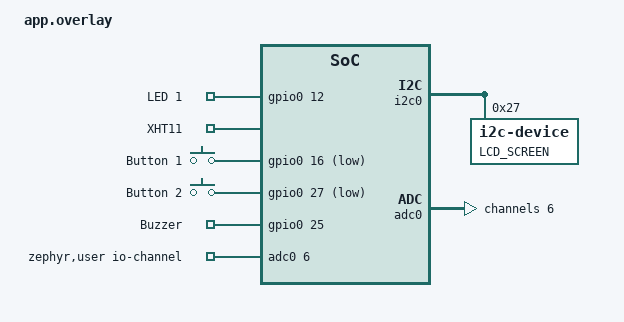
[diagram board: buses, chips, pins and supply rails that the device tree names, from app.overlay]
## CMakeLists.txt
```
# SPDX-License-Identifier: Apache-2.0

cmake_minimum_required(VERSION 3.20.0)

find_package(Zephyr REQUIRED HINTS $ENV{ZEPHYR_BASE})
project(hello_world)

target_sources(app PRIVATE 
   src/main.c
   src/lcd_screen_i2c.c
)
```

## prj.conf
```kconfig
# nothing here
CONFIG_ESP32_USE_UNSUPPORTED_REVISION=y
CONFIG_I2C=y
CONFIG_SENSOR=y
CONFIG_ADC=y
```

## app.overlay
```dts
/ {
   gpio_keys {
    compatible = "gpio-keys";
    ledyellow: led_yellow {
        gpios = <&gpio0 12 GPIO_ACTIVE_HIGH>;
        label = "LED 1";
    };

    dht11: dht11 {
        compatible = "aosong,dht";
        status = "okay";
        dio-gpios = <&gpio0 17 GPIO_ACTIVE_LOW>;
        label = "XHT11";
    };

    button1: button1 {
        gpios = <&gpio0 16 GPIO_ACTIVE_LOW>;
        label = "Button 1";
    };

    button2: button2 {
        gpios = <&gpio0 27 GPIO_ACTIVE_LOW>;
        label = "Button 2";
    };
};

    gpio_buzzer {
        compatible = "gpio-leds";
        buzzer: buzzer {
            gpios = <&gpio0 25 GPIO_ACTIVE_HIGH>;
            label = "Buzzer";
        };
    };
    
    zephyr,user {
        io-channels =
        <&adc0 6>;
    };

    aliases {
        led-yellow = &ledyellow;
        lcd-screen = &lcdscreen;
        dht11 = &dht11;
        button-1 = &button1;
        button-2 = &button2;
        buzzer = &buzzer;
    };
};


&i2c0 {
    lcdscreen: lcd_screen@27{
        compatible = "i2c-device";
        reg = <0x27>;
        label = "LCD_SCREEN";
    };
};

&adc0 {
	status = "okay";
	#address-cells = <1>;
	#size-cells = <0>;

	channel@6 {
		reg = <6>;
		zephyr,gain = "ADC_GAIN_1_4";
		zephyr,reference = "ADC_REF_INTERNAL";
		zephyr,acquisition-time = <ADC_ACQ_TIME_DEFAULT>;
		zephyr,resolution = <12>;
	};
};
```

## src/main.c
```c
/*
 * Copyright (c) 2012-2014 Wind River Systems, Inc.
 *
 * SPDX-License-Identifier: Apache-2.0
 */

#include <stdio.h>
#include <zephyr/kernel.h>
#include <zephyr/device.h>
#include <zephyr/devicetree.h>
#include <zephyr/drivers/adc.h>
#include <zephyr/drivers/gpio.h>
#include <zephyr/drivers/i2c.h>
#include <zephyr/drivers/sensor.h>
#include <zephyr/drivers/pwm.h>
#include <zephyr/sys/printk.h>
#include "lcd_screen_i2c.h"

#define LED_YELLOW_NODE DT_ALIAS(led_yellow)
#define LCD_SCREEN_NODE DT_ALIAS(lcd_screen)

#if !DT_NODE_EXISTS(DT_PATH(zephyr_user)) || \
    !DT_NODE_HAS_PROP(DT_PATH(zephyr_user), io_channels)
#error "No suitable devicetree overlay specified"
#endif

#define DT_SPEC_AND_COMMA(node_id, prop, idx) \
    ADC_DT_SPEC_GET_BY_IDX(node_id, idx),

const struct gpio_dt_spec led_yellow_gpio = GPIO_DT_SPEC_GET_OR(LED_YELLOW_NODE, gpios, {0});
static const struct i2c_dt_spec lcd_screen = I2C_DT_SPEC_GET(LCD_SCREEN_NODE);
const struct device *const dht11 = DEVICE_DT_GET_ONE(aosong_dht);

static const struct adc_dt_spec adc_channels[] = {
    DT_FOREACH_PROP_ELEM(DT_PATH(zephyr_user), io_channels, DT_SPEC_AND_COMMA)
};

#define BUTTON_1_NODE DT_ALIAS(button_1)
#define BUTTON_2_NODE DT_ALIAS(button_2)

static const struct gpio_dt_spec button1 = GPIO_DT_SPEC_GET_OR(BUTTON_1_NODE, gpios, {0});
static const struct gpio_dt_spec button2 = GPIO_DT_SPEC_GET_OR(BUTTON_2_NODE, gpios, {0});

static struct gpio_callback button1_cb_data;
static struct gpio_callback button2_cb_data;

volatile bool button1_pressed = false;
volatile bool button2_pressed = false;

void button1_pressed_callback(const struct device *dev, struct gpio_callback * cb, uint32_t pins) 
{
    button1_pressed = true;
}

void button2_pressed_callback(const struct device *dev, struct gpio_callback * cb, uint32_t pins) 
{
    button2_pressed = true;
}

void configure_buttons(void) 
{
    gpio_pin_configure_dt(&button1, GPIO_INPUT);
    gpio_pin_configure_dt(&button2, GPIO_INPUT);

    gpio_pin_interrupt_configure_dt(&button1, GPIO_INT_EDGE_TO_ACTIVE);
    gpio_pin_interrupt_configure_dt(&button2, GPIO_INT_EDGE_TO_ACTIVE);

    gpio_init_callback(&button1_cb_data, button1_pressed_callback, BIT(button1.pin));
    gpio_add_callback(button1.port, &button1_cb_data);

    gpio_init_callback(&button2_cb_data, button2_pressed_callback, BIT(button2.pin));
    gpio_add_callback(button2.port, &button2_cb_data);
}

void display_message_on_lcd(void)
{
    if (button1_pressed) {
        button1_pressed = false;
        printk("Button 1 pressed\n");
        write_lcd(&lcd_screen, "Button 1 pressed", LCD_LINE_1);
    }
    if (button2_pressed) {
        button2_pressed = false;
        printk("Button 2 pressed\n");
        write_lcd(&lcd_screen, "Button 2 pressed", LCD_LINE_1);
    }
}

int main(void)
{
    int ret;
    uint16_t adc_buf;
    uint32_t count = 0;
    struct sensor_value temp, humidity;
    struct adc_sequence sequence = {
        .buffer = &adc_buf,
        .buffer_size = sizeof(adc_buf),
    };

    printf("Hello World! %s\n", CONFIG_BOARD_TARGET);
    gpio_pin_configure_dt(&led_yellow_gpio, GPIO_OUTPUT_HIGH);
    init_lcd(&lcd_screen);

    if (!device_is_ready(dht11)) {
        printk("Le capteur DHT11 n'est pas prêt\n");
        return;
    }

    for (size_t i = 0U; i < ARRAY_SIZE(adc_channels); i++) {
        if (!adc_is_ready_dt(&adc_channels[i])) {
            printk("Le périphérique ADC %s n'est pas prêt\n", adc_channels[i].dev->name);
            return;
        }

        ret = adc_channel_setup_dt(&adc_channels[i]);
        if (ret < 0) {
            printk("Échec de configuration du canal ADC #%d (%d)\n", i, ret);
            return;
        }
    }

    printk("Initialisation du système\n");
    configure_buttons();

    while (1) {
        
        ret = sensor_sample_fetch(dht11);
        if (ret == 0) {
            sensor_channel_get(dht11, SENSOR_CHAN_AMBIENT_TEMP, &temp);
		    sensor_channel_get(dht11, SENSOR_CHAN_HUMIDITY, &humidity);

		    printf("Température: %.d.%06d °C, Humidité: %d.%06d %%\n", temp.val1, temp.val2, humidity.val1, humidity.val2);
        } else {
            printk("Erreur de lecture du capteur DHT11\n");
        }

        printk("Lecture ADC[%u]:\n", count++);
        for (size_t i = 0U; i < ARRAY_SIZE(adc_channels); i++) {
            int32_t val_mv;
            printk("- %s, canal %d: ", adc_channels[i].dev->name, adc_channels[i].channel_id);

            (void)adc_sequence_init_dt(&adc_channels[i], &sequence);
            ret = adc_read_dt(&adc_channels[i], &sequence);
            if (ret < 0) {
                printk("Erreur de lecture ADC (%d)\n", ret);
                continue;
            }

            val_mv = adc_channels[i].channel_cfg.differential ? (int32_t)((int16_t)adc_buf) : (int32_t)adc_buf;
            printk("%" PRId32, val_mv);
            ret = adc_raw_to_millivolts_dt(&adc_channels[i], &val_mv);
            if (ret < 0) {
                printk(" (valeur en mV non disponible)\n");
            } else {
                printk(" = %" PRId32 " mV\n", val_mv);
            }
        }

        display_message_on_lcd();
        k_sleep(K_MSEC(500));
    }

}
```

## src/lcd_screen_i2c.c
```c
#include "lcd_screen_i2c.h"

#include <zephyr/kernel.h>
#include <zephyr/drivers/i2c.h>

static void lcd_toggle_enable(const struct i2c_dt_spec *dev_lcd_screen, uint8_t bits);
static void lcd_byte(const struct i2c_dt_spec *dev_lcd_screen, uint8_t bits, uint8_t mode);

void init_lcd(const struct i2c_dt_spec *dev_lcd_screen)
{
    lcd_byte(dev_lcd_screen, 0x33, LCD_CMD);
    lcd_byte(dev_lcd_screen, 0x32, LCD_CMD);
    lcd_byte(dev_lcd_screen, 0x06, LCD_CMD);
    lcd_byte(dev_lcd_screen, 0x0c, LCD_CMD);
    lcd_byte(dev_lcd_screen, 0x28, LCD_CMD);
    lcd_byte(dev_lcd_screen, 0x01, LCD_CMD);
    write_lcd(dev_lcd_screen, HELLO_MSG, LCD_LINE_1);
    write_lcd(dev_lcd_screen, ZEPHYR_MSG, LCD_LINE_2);
}

static void lcd_byte(const struct i2c_dt_spec *dev_lcd_screen, uint8_t bits, uint8_t mode)
{
    int ret = 0;
    uint8_t bits_high = mode | (bits & 0xf0) | LCD_BACKLIGHT;
    uint8_t bits_low = mode | ((bits << 4) & 0xf0) | LCD_BACKLIGHT;

    ret = i2c_write_dt(dev_lcd_screen, &bits_high, sizeof(bits_high));
    if (ret != 0)
    {
        printk("ERROR while writing to I2C");
    }
    lcd_toggle_enable(dev_lcd_screen, bits_high);

    ret = i2c_write_dt(dev_lcd_screen, &bits_low, sizeof(bits_low));
    if (ret != 0)
    {
        printk("ERROR while writing to I2C");
    }
    lcd_toggle_enable(dev_lcd_screen, bits_low);
}

void write_lcd(const struct i2c_dt_spec *dev_lcd_screen, const char *msg, uint8_t line)
{
    lcd_byte(dev_lcd_screen, line, LCD_CMD);

    if (strlen(msg) > LCD_WIDTH)
    {
        return;
    }
    for (uint8_t i = 0; i < strlen(msg); i++)
    {
        lcd_byte(dev_lcd_screen, msg[i], LCD_CHR);
    }
}

static void lcd_toggle_enable(const struct i2c_dt_spec *dev_lcd_screen, uint8_t bits)
{
    int ret = 0;
    k_sleep(K_MSEC(5));
    uint8_t bits1 = bits | LCD_ENABLE;

    ret = i2c_write_dt(dev_lcd_screen, &bits1, sizeof(bits1));
    if (ret != 0)
    {
        printk("ERROR while writing to I2C");
    }

    k_sleep(K_MSEC(5));
    uint8_t bits2 = bits & ~LCD_ENABLE;
    ret = i2c_write_dt(dev_lcd_screen, &bits2, sizeof(bits2));
    if (ret != 0)
    {
        printk("ERROR while writing to I2C");
    }
    k_sleep(K_MSEC(5));
}
```
